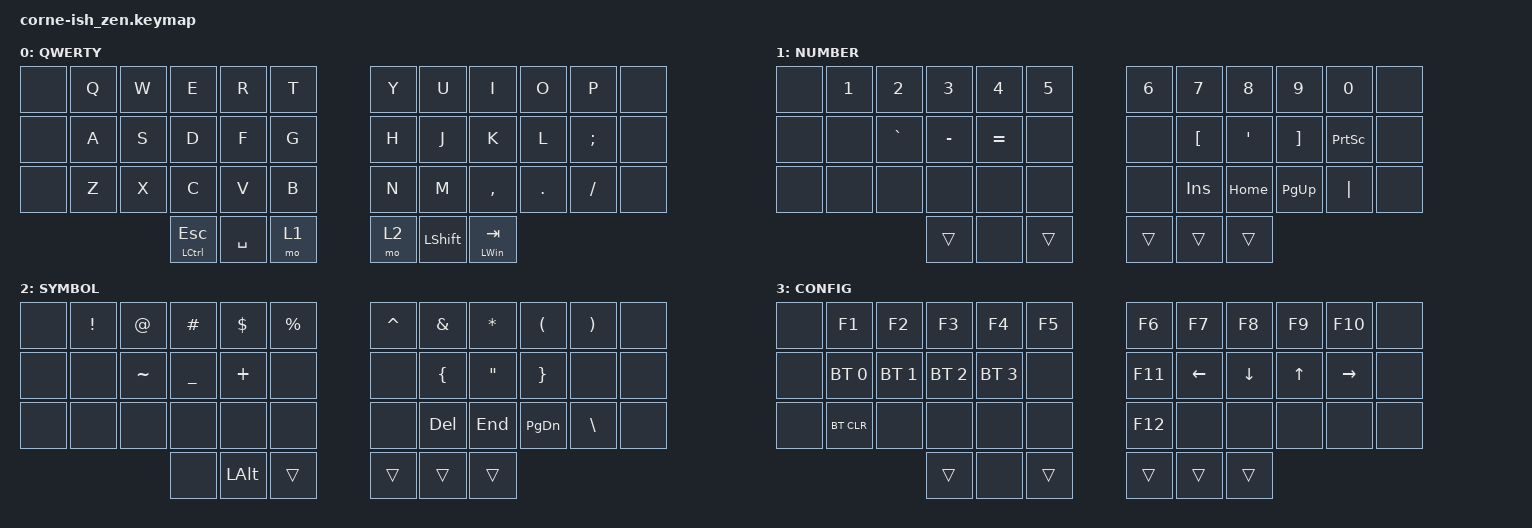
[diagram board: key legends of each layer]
/*
*
* Copyright (c) 2021 Darryl deHaan
* SPDX-License-Identifier: MIT
*
*/

#include <behaviors.dtsi>
#include <dt-bindings/zmk/keys.h>
#include <dt-bindings/zmk/bt.h>

&sk {
    release-after-ms = <3000>;
};

/ {
        combos {
                compatible = "zmk,combos";

                combo_bspc {
                        timeout-ms = <50>;
                        key-positions = <15 20>;
                        layers = <0>;
                        bindings = <&kp BSPC>;
                };
                combo_ret {
                        timeout-ms = <50>;
                        key-positions = <16 19>;
                        layers = <0>;
                        bindings = <&kp RET>;
                };
                combo_ctrl {
                        timeout-ms = <50>;
                        key-positions = <13 22>;
                        layers = <0>;
                        bindings = <&sk LCTRL>;
                };
                combo_alt {
                        timeout-ms = <50>;
                        key-positions = <14 21>;
                        layers = <0>;
                        bindings = <&sk LALT>;
                };
        };
};

/ {
        conditional_layers {
                compatible = "zmk,conditional-layers";

                tri_layer {
                        if-layers = <1 2>;
                        then-layer = <3>;
                };
        };
};

/ {      
        keymap {
                compatible = "zmk,keymap";

                default_layer {
                        label = "QWERTY";
                        bindings = <
&none   &kp Q   &kp W   &kp E   &kp R   &kp T           &kp Y   &kp U   &kp I     &kp O   &kp P    &none
&none   &kp A   &kp S   &kp D   &kp F   &kp G           &kp H   &kp J   &kp K     &kp L   &kp SEMI &none
&none   &kp Z   &kp X   &kp C   &kp V   &kp B           &kp N   &kp M   &kp COMMA &kp DOT &kp FSLH &none
        &mt LCTRL ESC   &kp SPACE       &mo 1           &mo 2   &kp LSHFT         &mt LWIN TAB
                        >;
                };

                lower_layer {
                        label = "NUMBER";
                        bindings = <
&none   &kp N1  &kp N2    &kp N3    &kp N4    &kp N5         &kp N6  &kp N7   &kp N8   &kp N9    &kp N0    &none
&none   &none   &kp GRAVE &kp MINUS &kp EQUAL &none          &none   &kp LBKT &kp SQT  &kp RBKT  &kp PSCRN &none
&none   &none   &none     &none     &none     &none          &none   &kp INS  &kp HOME &kp PG_UP &kp PIPE  &none
                          &trans    &none     &trans         &trans  &trans   &trans
                        >;
                };

                raise_layer {
                        label = "SYMBOL";
                        bindings = <
&none   &kp EXCL &kp AT      &kp HASH  &kp DLLR &kp PRCNT    &kp CARET &kp AMPS &kp ASTRK &kp LPAR  &kp RPAR &none
&none   &none    &kp TILDE   &kp UNDER &kp PLUS &none        &none     &kp LBRC &kp DQT   &kp RBRC  &none    &none
&none   &none    &none       &none     &none    &none        &none     &kp DEL  &kp END   &kp PG_DN &kp BSLH &none
                    	     &none     &kp LALT &trans       &trans    &trans   &trans
                        >;
                };

                config_layer {
                        label = "CONFIG";
                        bindings = <
&none   &kp F1       &kp F2       &kp F3       &kp F4       &kp F5     &kp F6  &kp F7   &kp F8   &kp F9 &kp F10   &none
&none   &bt BT_SEL 0 &bt BT_SEL 1 &bt BT_SEL 2 &bt BT_SEL 3 &none      &kp F11 &kp LEFT &kp DOWN &kp UP &kp RIGHT &none
&none   &bt BT_CLR   &none        &none        &none        &none      &kp F12 &none    &none    &none  &none     &none
                          	  &trans       &none        &trans     &trans  &trans   &trans
                        >;
                };
        };
};
